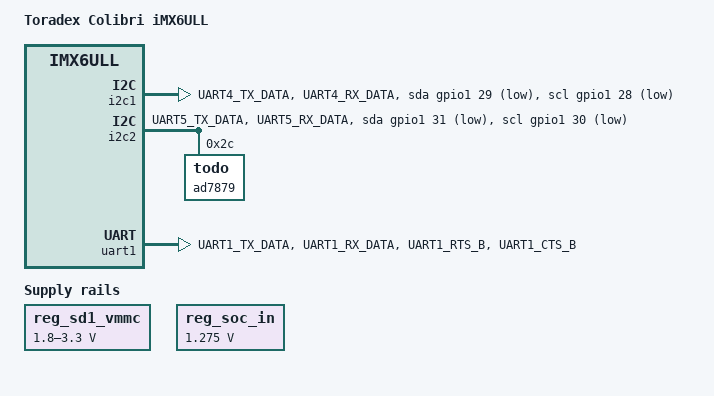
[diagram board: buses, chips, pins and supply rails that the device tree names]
/*
 * Copyright 2017 Toradex AG
 *
 * SPDX-License-Identifier:     GPL-2.0+ or X11
 */

/dts-v1/;
#include <dt-bindings/gpio/gpio.h>
#include "imx6ull.dtsi"

/ {
	model = "Toradex Colibri iMX6ULL";
	compatible = "toradex,imx6ull-colibri", "fsl,imx6ull";

	chosen {
		stdout-path = &uart1;
	};

	regulators {
		compatible = "simple-bus";
		#address-cells = <1>;
		#size-cells = <0>;

		reg_sd1_vmmc: regulator@1 {
			compatible = "regulator-gpio";
			regulator-name = "V3.3_1.8_SD";
			gpio = <&gpio5 9 GPIO_ACTIVE_HIGH>;
			pinctrl-names = "default";
			pinctrl-0 = <&pinctrl_reg_sd>;
			regulator-min-microvolt = <1800000>;
			regulator-max-microvolt = <3300000>;
			states = <1800000 0x1 3300000 0x0>;
		};

		reg_soc_in: regulator-gpio {
			compatible = "regulator-fixed";
			regulator-min-microvolt = <1275000>;
			regulator-max-microvolt = <1275000>;
			regulator-name = "gpio_soc_in";
			regulator-type = "voltage";
		};
	};

};

&cpu0 {
	arm-supply = <&reg_arm>;
	soc-supply = <&reg_soc>;
	dc-supply = <&reg_soc_in>;
};

#if TODO
&clks {
	assigned-clocks = <&clks IMX6UL_CLK_PLL4_AUDIO_DIV>;
	assigned-clock-rates = <786432000>;
};
#endif
/* TODO, remove this in U-Boot */
&i2c1 {
	pinctrl-names = "default", "gpio";
	pinctrl-0 = <&pinctrl_i2c1>;
	pinctrl-1 = <&pinctrl_i2c1_gpio>;
	sda-gpios = <&gpio1 29 GPIO_ACTIVE_LOW>;
	scl-gpios = <&gpio1 28 GPIO_ACTIVE_LOW>;
	status = "okay";
};

&i2c2 {
	pinctrl-names = "default", "gpio";
	pinctrl-0 = <&pinctrl_i2c2>;
	pinctrl-1 = <&pinctrl_i2c2_gpio>;
	sda-gpios = <&gpio1 31 GPIO_ACTIVE_LOW>;
	scl-gpios = <&gpio1 30 GPIO_ACTIVE_LOW>;
	status = "okay";
	ad7879@2c {
		compatible = "todo";
		reg = <0x2c>;
	};
};

&uart1 {
	pinctrl-names = "default";
	pinctrl-0 = <&pinctrl_uart1>;
	uart-has-rtscts;
	fsl,dte-mode;
	status = "okay";
};

&iomuxc {
	pinctrl_i2c1: i2c1grp {
		fsl,pins = <
			MX6UL_PAD_UART4_TX_DATA__I2C1_SCL 0x4001b8b0
			MX6UL_PAD_UART4_RX_DATA__I2C1_SDA 0x4001b8b0
		>;
	};

	pinctrl_i2c1_gpio: i2c1-gpio-grp {
		fsl,pins = <
			MX6UL_PAD_UART4_TX_DATA__GPIO1_IO28 0x4001b8b0
			MX6UL_PAD_UART4_RX_DATA__GPIO1_IO29 0x4001b8b0
		>;
	};

	pinctrl_i2c2: i2c2grp {
		fsl,pins = <
			MX6UL_PAD_UART5_TX_DATA__I2C2_SCL 0x4001b8b0
			MX6UL_PAD_UART5_RX_DATA__I2C2_SDA 0x4001b8b0
		>;
	};

	pinctrl_i2c2_gpio: i2c2grp {
		fsl,pins = <
			MX6UL_PAD_UART5_TX_DATA__GPIO1_IO30 0x4001b8b0
			MX6UL_PAD_UART5_RX_DATA__GPIO1_IO31 0x4001b8b0
		>;
	};

	pinctrl_reg_sd: reg-sd-grp {
		fsl,pins = <
			MX6UL_PAD_SNVS_TAMPER9__GPIO5_IO09 0x4001b8b0
		>;
	};

	pinctrl_uart1: uart1-grp {
		fsl,pins = <
			MX6UL_PAD_UART1_TX_DATA__UART1_DTE_RX	0x79
			MX6UL_PAD_UART1_RX_DATA__UART1_DTE_TX	0x79
			MX6UL_PAD_UART1_RTS_B__UART1_DTE_CTS	0x79
			MX6UL_PAD_UART1_CTS_B__UART1_DTE_RTS	0x79
		>;
	};
};

&iomuxc_snvs {
};
